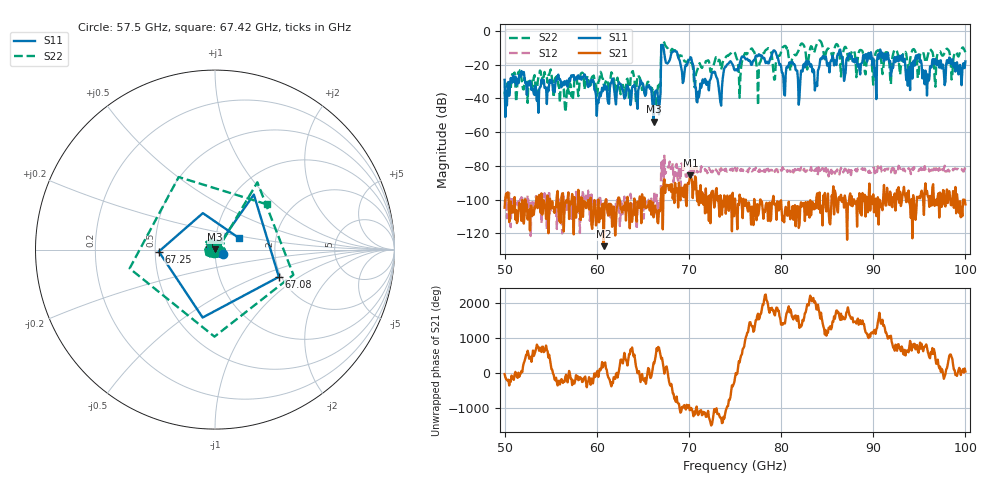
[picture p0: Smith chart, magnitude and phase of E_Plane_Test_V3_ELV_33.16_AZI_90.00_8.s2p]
! 11/26/2026 4:04:31 PM
! C:\ANRITSUVNA\TEMP\TEMP.S2P
! CHANNEL.1
! TR.MEASUREMENT
! RAW.DATA
# HZ S RI R 50.0
! FREQ.HZ  S11RE  S11IM  S21RE  S21IM  S12RE  S12IM  S22RE  S22IM
!; PortSelection: Port_12
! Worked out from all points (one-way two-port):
!   601 points, 50 GHz to 100 GHz, reference 50 ohm
!   highest |S21| = -85.59 dB at 70.17 GHz (marker M1); lowest = -127.7 dB at 60.75 GHz (marker M2)
!   lowest |S11| = -53.8 dB at 66.17 GHz (marker M3), VSWR 1.00, Z = 50.1 + j0.149 ohm
!   |S11| at or under -10 dB: start of sweep to 67 GHz; 67.25 GHz to end of sweep
!   |S22| runs from -48.2 to -5.6 dB; largest |S21 - S12| = 0.00016
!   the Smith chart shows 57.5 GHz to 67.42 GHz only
!   S11 on the Smith chart (normalised r, x): 57.5 GHz: 1.09, -0.05; 67.08 GHz: 1.94, -0.69; 67.25 GHz: 0.52, -0.01; 67.42 GHz: 1.29, +0.17
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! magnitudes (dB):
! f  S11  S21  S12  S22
! 50 GHz  -29.0  -104.8  -100.2  -35.8
! 51.67 GHz  -26.3  -103.5  -98.8  -23.3
! 53.42 GHz  -34.7  -101.3  -97.9  -35.4
! 57.5 GHz  -26.2  -120.7  -99.3  -34.7
! 58.42 GHz  -27.2  -99.2  -98.9  -24.7
! 60.75 GHz  -34.1  -127.7  -104.2  -31.9
! 66.17 GHz  -53.8  -110.6  -106.2  -34.0
! 66.67 GHz  -41.5  -114.1  -100.6  -31.7
! 67.08 GHz  -8.2  -92.9  -84.7  -6.8
! 67.25 GHz  -10.1  -91.8  -92.5  -6.2
! 67.42 GHz  -16.6  -96.1  -84.8  -8.3
! 70.17 GHz  -15.5  -85.6  -79.7  -18.6
! 70.92 GHz  -42.3  -101.1  -83.9  -23.0
! 75 GHz  -23.4  -99.4  -81.2  -13.0
! 79.25 GHz  -11.5  -102.9  -81.8  -28.8
! 80.25 GHz  -27.9  -109.9  -81.7  -9.3
! 83.42 GHz  -24.4  -101.4  -83.3  -10.8
! 91.67 GHz  -16.6  -99.6  -81.5  -15.2
! 93.75 GHz  -32.4  -101.1  -82.6  -21.4
! 94.83 GHz  -15.1  -99.1  -82.8  -27.9
! 95.83 GHz  -38.3  -95.0  -82.2  -16.5
! 100 GHz  -18.0  -102.9  -82.2  -12.6
